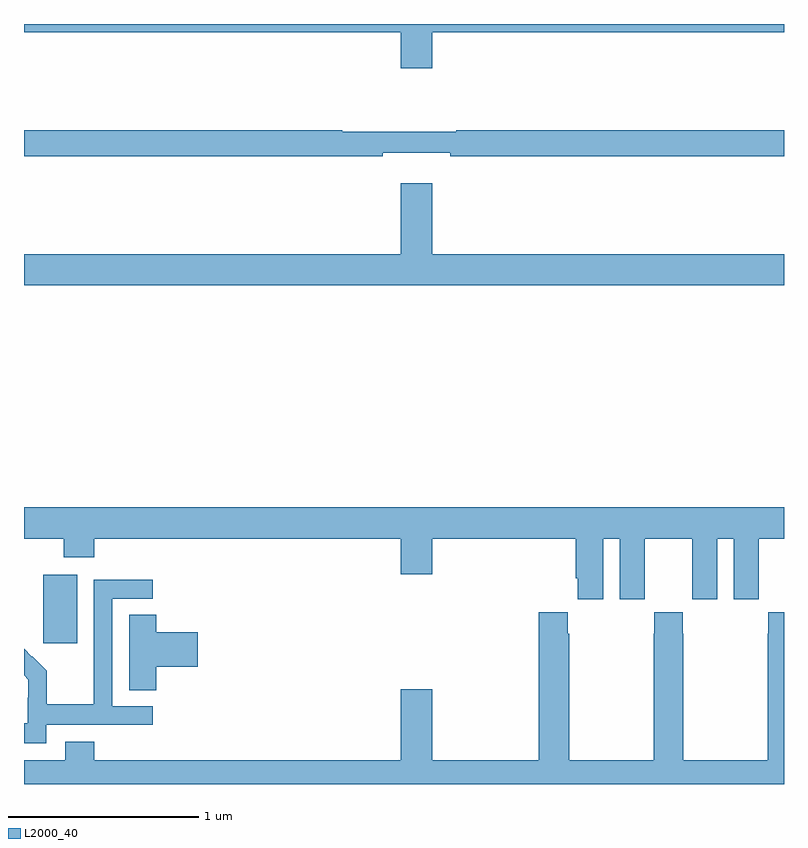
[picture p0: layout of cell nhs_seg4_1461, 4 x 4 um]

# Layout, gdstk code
import gdstk
lib = gdstk.Library(unit=1e-6, precision=1e-09)
def R(c, l, rs):  # rectangles x0, y0, x1, y1
    for r in rs: c.add(gdstk.rectangle(r[:2], r[2:], *l))
def P(c, l, *ps):  # polygons
    for p in ps: c.add(gdstk.Polygon(p, *l))
L2000_40 = (2000, 40)

nhs_seg4_1461 = lib.new_cell('nhs_seg4_1461')
R(nhs_seg4_1461, L2000_40, [(187.1,757.641,187.279,758.002)])
P(nhs_seg4_1461, L2000_40, [(189.148,760.856),(191,760.856),(191,760.9),(187,760.9),(187,760.856),(188.984,760.856),(188.984,760.668),(189.148,760.668)],
  [(188.888,760.223),(189.244,760.223),(189.244,760.204),(191,760.204),(191,760.34),(189.274,760.34),(189.274,760.333),(188.674,760.333),(188.674,760.34),(187,760.34),(187,760.204),(188.888,760.204)],
  [(191,759.688),(189.148,759.688),(189.148,760.063),(188.984,760.063),(188.984,759.688),(187,759.688),(187,759.524),(191,759.524)],
  [(190.048,758.192),(190.136,758.192),(190.136,757.872),(190.266,757.872),(190.266,757.984),(190.267,757.984),(190.267,758.192),(190.517,758.192),(190.517,757.984),(190.518,757.984),(190.518,757.872),(190.648,757.872),(190.648,758.192),(190.736,758.192),(190.736,757.872),(190.866,757.872),(190.866,757.984),(190.867,757.984),(190.867,758.192),(191,758.192),(191,758.356),(187,758.356),(187,758.192),(187.21,758.192),(187.21,758.093),(187.37,758.093),(187.37,758.192),(188.984,758.192),(188.984,758.004),(189.148,758.004),(189.148,758.192),(189.905,758.192),(189.905,757.984),(189.914,757.984),(189.914,757.872),(190.048,757.872)],
  [(187.116,757.212),(187.678,757.212),(187.678,757.308),(187.464,757.308),(187.464,757.875),(187.678,757.875),(187.678,757.974),(187.368,757.974),(187.368,757.544),(187.366,757.544),(187.366,757.321),(187.121,757.321),(187.121,757.495),(187.044,757.572),(187.041,757.569),(187,757.611),(187,757.472),(187.022,757.45),(187.022,757.353),(187.02,757.353),(187.02,757.219),(187,757.219),(187,757.115),(187.116,757.115)],
  [(191,757.804),(190.917,757.804),(190.917,757.691),(190.915,757.691),(190.915,757.024),(190.47,757.024),(190.47,757.691),(190.467,757.691),(190.467,757.804),(190.317,757.804),(190.317,757.691),(190.315,757.691),(190.315,757.024),(189.87,757.024),(189.87,757.691),(189.863,757.691),(189.863,757.804),(189.71,757.804),(189.71,757.024),(189.148,757.024),(189.148,757.399),(188.984,757.399),(188.984,757.024),(187.37,757.024),(187.37,757.123),(187.217,757.123),(187.217,757.024),(187,757.024),(187,756.9),(191,756.9)],
  [(187.697,757.517),(187.915,757.517),(187.915,757.7),(187.697,757.7),(187.697,757.79),(187.553,757.79),(187.553,757.393),(187.697,757.393)])

lib.write_gds('nhs_seg4_1461.gds')
